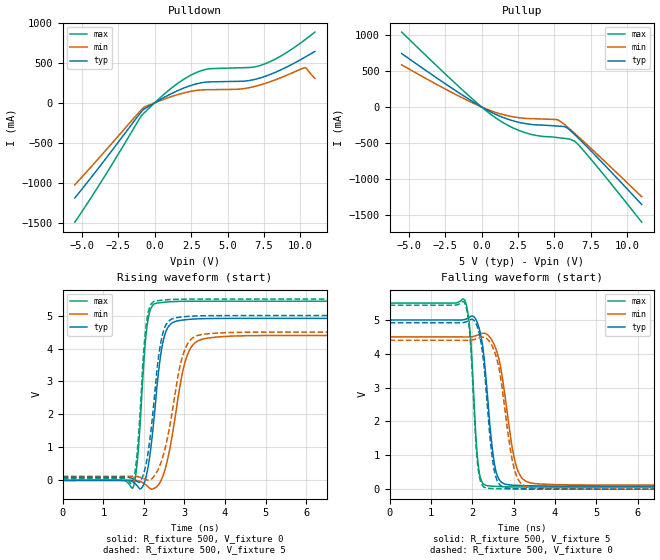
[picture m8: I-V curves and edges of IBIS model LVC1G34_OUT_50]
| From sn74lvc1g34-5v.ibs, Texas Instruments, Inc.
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[Model]   LVC1G34_OUT_50
Model_type  Output
Vref =   0
Rref =   500
Cref =   50p
Vmeas =   2.5
| variable   typ   min   max
C_comp   8.95pF   5.46pF   12.36pF
| C_pullup   9.69pF   5.46pF   12.36pF
| C_pulldown   8.21pF   6.20pF   11.61pF
[Temperature Range]   40   100   -40
| Ambient temperature   25   85   -40
[Voltage range]   5   4.5   5.5
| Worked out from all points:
|   slope of the pulldown table from 0 to 0.75 V, typ, clamps not added: 9.73 ohm
|   slope of the pullup table from 0 to 0.75 V, typ, clamps not added: 9.16 ohm
|   rising waveform, R_fixture 500, V_fixture 0: 20-80 % time 259ps typ, 373ps min, 174ps max; typ from 0 V to 4.91 V
|   falling waveform, R_fixture 500, V_fixture 5: 20-80 % time 225ps typ, 321ps min, 148ps max; typ from 5 V to 0.091 V
|   rising waveform, R_fixture 500, V_fixture 5: 20-80 % time 265ps typ, 394ps min, 175ps max; typ from 0.091 V to 5 V
|   falling waveform, R_fixture 500, V_fixture 0: 20-80 % time 220ps typ, 309ps min, 149ps max; typ from 4.92 V to 0 V
[Pulldown]
| LVC1G34_OUT_50
|   Voltage   I(typ)   I(min)   I(max)
-5.5V     -1.19A     -1.026A    -1.493A
-3.615V   -756.5mA   -644.9mA   -968mA
-860mV    -99.61mA   -76.72mA   -149.6mA
1.145V    114mA      76.72mA    182.7mA
2.335V    206.5mA    136.8mA    330.4mA
3.39V     254.8mA    162mA      411mA
5.9V      268mA      171.6mA    436.9mA
6.79V     288.1mA    200.2mA    446mA
7.59V     330.6mA    241.7mA    487.6mA
8.82V     424.5mA    324.7mA    600.5mA
10.29V    565.4mA    436.9mA    781.9mA
11V       641.1mA    304.6mA    882.6mA
[Pullup]
| LVC1G34_OUT_50
|   Voltage   I(typ)   I(min)   I(max)
-5.5V     745.2mA    587.5mA    1.044A
-1.18V    147.6mA    112.6mA    211.7mA
1.04V     -109.2mA   -79.97mA   -161.6mA
2.045V    -185.4mA   -131.8mA   -280mA
3.05V     -232.7mA   -158.7mA   -361.3mA
3.945V    -250.5mA   -165.3mA   -402.5mA
5.295V    -265.8mA   -184.8mA   -427.6mA
5.83V     -285.1mA   -267.5mA   -440mA
6.335V    -372.8mA   -357.2mA   -470.5mA
6.54V     -412.8mA   -394.7mA   -503.8mA
8.12V     -739mA     -692.4mA   -876.8mA
11V       -1.358A    -1.25A     -1.605A
[Ramp]
| LVC1G34_OUT_50
| variable   typ   min   max
dV/dt_r   3.10/2.79E-10   2.80/4.05E-10   3.41/1.89E-10
dV/dt_f   3.01/2.34E-10   2.69/3.40E-10   3.33/1.54E-10
R_load = 500
[Rising Waveform]
| LVC1G34_OUT_50
R_fixture =   500
C_fixture =   0
L_fixture =   0
V_fixture =   0
V_fixture_min = 0
V_fixture_max = 0
|   Time   V(typ)   V(min)   V(max)
0s        185.3pV    4.77nV     2.097nV
1.73ns    -48.81mV   5.013mV    -219.3mV
1.85ns    -187.9mV   -9.681mV   752.9mV
2.075ns   224.7mV    -162.5mV   4.664V
2.315ns   2.761V     -194.9mV   5.378V
2.45ns    4.079V     74.43mV    5.397V
2.61ns    4.675V     785.8mV    5.415V
3.05ns    4.877V     3.727V     5.433V
3.575ns   4.908V     4.316V     5.435V
24.99ns   4.914V     4.397V     5.435V
[Falling Waveform]
| LVC1G34_OUT_50
R_fixture =   500
C_fixture =   0
L_fixture =   0
V_fixture =   5
V_fixture_min = 4.5
V_fixture_max = 5.5
|   Time   V(typ)   V(min)   V(max)
0s        5V         4.5V       5.5V
1.815ns   5.014V     4.497V     5.584V
1.955ns   5.099V     4.5V       4.522V
2.145ns   4.839V     4.565V     690.2mV
2.365ns   2.796V     4.565V     101.7mV
2.5ns     1.043V     4.344V     86.82mV
2.62ns    353.6mV    3.955V     78.93mV
3.045ns   114.7mV    768.5mV    66.49mV
3.425ns   99.81mV    181.3mV    64.02mV
24.99ns   91.35mV    120.7mV    62.83mV
[Rising Waveform]
| LVC1G34_OUT_50
R_fixture =   500
C_fixture =   0
L_fixture =   0
V_fixture =   5
V_fixture_min = 4.5
V_fixture_max = 5.5
|   Time   V(typ)   V(min)   V(max)
0s        91.33mV    120.7mV    62.82mV
1.715ns   57.81mV    125.8mV    -87.64mV
1.84ns    -39.76mV   115.3mV    925.7mV
1.985ns   170mV      57.13mV    3.746V
2.065ns   572.2mV    19.09mV    4.799V
2.32ns    3.341V     263.1mV    5.449V
2.53ns    4.685V     1.009V     5.475V
2.97ns    4.963V     3.828V     5.497V
3.42ns    4.992V     4.423V     5.5V
24.99ns   5V         4.5V       5.5V
[Falling Waveform]
| LVC1G34_OUT_50
R_fixture =   500
C_fixture =   0
L_fixture =   0
V_fixture =   0
V_fixture_min = 0
V_fixture_max = 0
|   Time   V(typ)   V(min)   V(max)
0s        4.917V     4.401V     5.437V
1.815ns   4.931V     4.398V     5.503V
1.945ns   5.002V     4.4V       4.492V
2.14ns    4.725V     4.458V     613.9mV
2.345ns   2.75V      4.454V     30.35mV
2.475ns   1.009V     4.241V     18.85mV
2.605ns   244mV      3.792V     13.93mV
3.01ns    18.39mV    628.7mV    3.523mV
3.4ns     6.97mV     45.46mV    1.137mV
24.99ns   17.05uV    24.76uV    11.62uV
